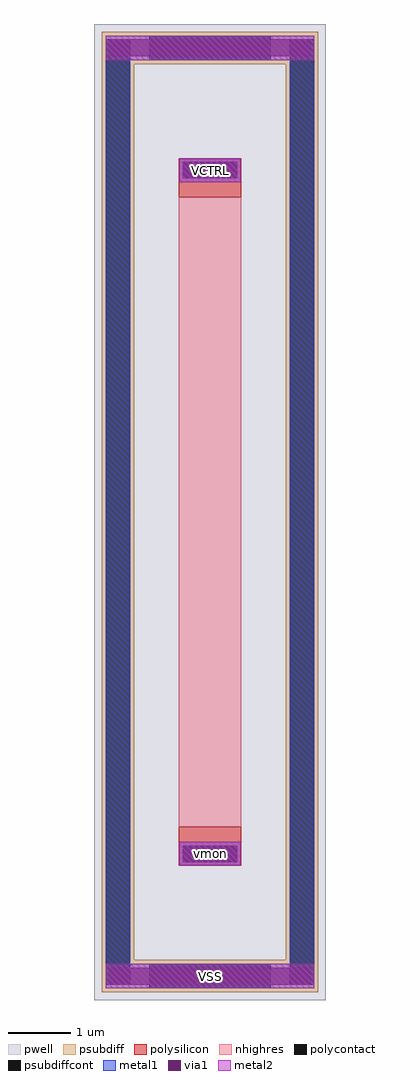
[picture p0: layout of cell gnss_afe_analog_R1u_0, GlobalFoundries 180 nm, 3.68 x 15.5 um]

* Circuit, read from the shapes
.subckt gnss_afe_analog_R1u_0 vmon VCTRL VSS
XR1 VCTRL vmon VSS ppolyf_u_1k r_width=1u r_length=10u
.ends

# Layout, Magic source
magic
tech gf180mcuD
magscale 1 10
<< pwell >>
rect -368 -464 368 2636
<< psubdiff >>
rect -344 -440 344 -336
rect -344 2508 344 2612
rect -344 -336 -240 2508
rect 240 -336 344 2508
<< polysilicon >>
rect -100 2086 100 2208
rect -100 -36 100 86
<< nhighres >>
rect -100 86 100 2086
<< psubdiffcont >>
rect -331 -416 -253 2588
rect 253 -416 331 2588
rect -193 2521 193 2599
rect -193 -427 193 -349
<< polycontact >>
rect -87 2149 87 2195
rect -87 -23 87 23
<< metal1 >>
rect -98 2149 98 2195
rect -98 -23 98 23
rect -98 -38 98 38
rect -98 2134 98 2210
rect -331 -427 331 -349
rect -331 2521 331 2599
rect -331 -427 -253 2599
rect 253 -427 331 2599
rect -331 -427 331 -349
rect -331 2521 331 2599
<< metal2 >>
rect -98 -38 98 38
rect -98 2134 98 2210
rect -331 -427 331 -349
rect -331 2521 331 2599
<< via1 >>
rect -86 -26 86 26
rect -86 2146 86 2198
rect -319 -415 319 -361
rect -319 2533 319 2587
<< labels >>
flabel metal2 s -98 -38 98 38 0 FreeSans 80 0 0 0 vmon
port 1 nsew signal bidirectional
flabel metal2 s -98 2134 98 2210 0 FreeSans 80 0 0 0 VCTRL
port 2 nsew signal bidirectional
flabel metal2 s -331 -427 331 -349 0 FreeSans 80 0 0 0 VSS
port 3 nsew signal bidirectional
<< end >>
